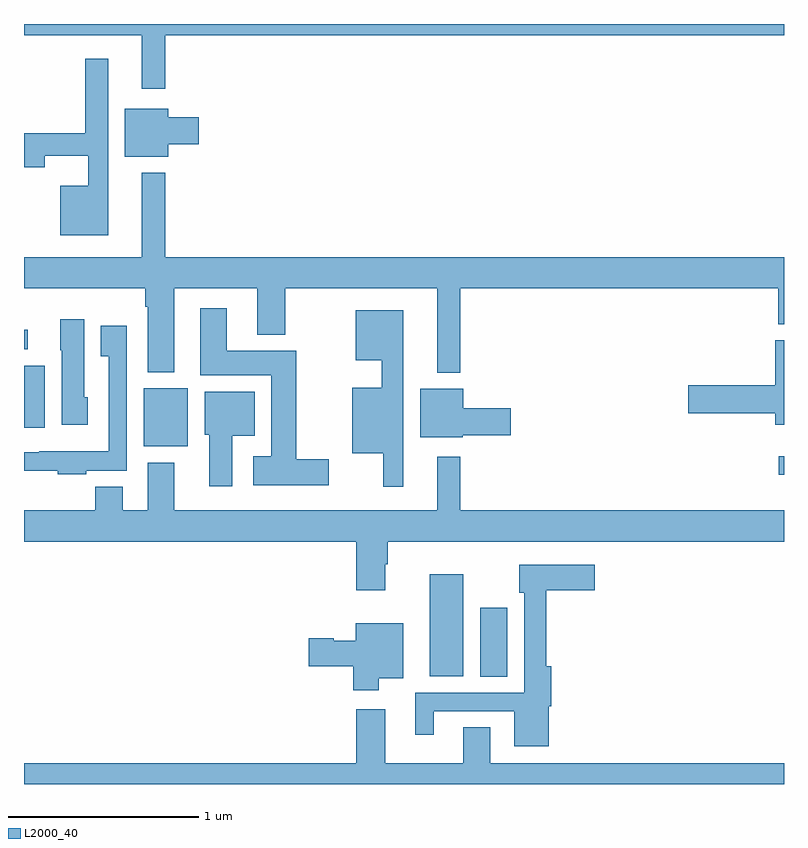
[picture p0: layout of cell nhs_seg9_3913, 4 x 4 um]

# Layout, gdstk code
import gdstk
lib = gdstk.Library(unit=1e-6, precision=1e-09)
def R(c, l, rs):  # rectangles x0, y0, x1, y1
    for r in rs: c.add(gdstk.rectangle(r[:2], r[2:], *l))
def P(c, l, *ps):  # polygons
    for p in ps: c.add(gdstk.Polygon(p, *l))
L2000_40 = (2000, 40)

nhs_seg9_3913 = lib.new_cell('nhs_seg9_3913')
R(nhs_seg9_3913, L2000_40, [(337.4,1173.064,337.543,1173.427), (337.136,1173.068,337.312,1173.604), (338.973,1174.128,339,1174.224), (335.63,1174.277,335.863,1174.582), (335,1174.374,335.11,1174.701), (335,1174.788,335.02,1174.891)])
P(nhs_seg9_3913, L2000_40, [(335.743,1176.44),(339,1176.44),(339,1176.5),(335,1176.5),(335,1176.44),(335.621,1176.44),(335.621,1176.159),(335.743,1176.159)],
  [(335.443,1176.316),(335.322,1176.316),(335.322,1175.924),(335,1175.924),(335,1175.746),(335.11,1175.746),(335.11,1175.807),(335.339,1175.807),(335.339,1175.65),(335.192,1175.65),(335.192,1175.387),(335.443,1175.387)],
  [(335.758,1175.867),(335.92,1175.867),(335.92,1176.009),(335.758,1176.009),(335.758,1176.055),(335.531,1176.055),(335.531,1175.801),(335.758,1175.801)],
  [(337.297,1175.108),(338.969,1175.108),(338.969,1174.921),(339,1174.921),(339,1175.272),(335.743,1175.272),(335.743,1175.716),(335.621,1175.716),(335.621,1175.272),(335,1175.272),(335,1175.108),(335.639,1175.108),(335.639,1175.012),(335.651,1175.012),(335.651,1174.667),(335.791,1174.667),(335.791,1175.108),(336.227,1175.108),(336.227,1174.865),(336.375,1174.865),(336.375,1175.108),(337.175,1175.108),(337.175,1174.664),(337.297,1174.664)],
  [(336.604,1174.208),(336.432,1174.208),(336.432,1174.78),(336.067,1174.78),(336.067,1175.005),(335.927,1175.005),(335.927,1174.652),(336.302,1174.652),(336.302,1174.225),(336.207,1174.225),(336.207,1174.073),(336.604,1174.073)],
  [(336.997,1174.993),(336.746,1174.993),(336.746,1174.73),(336.883,1174.73),(336.883,1174.585),(336.728,1174.585),(336.728,1174.241),(336.891,1174.241),(336.891,1174.065),(336.997,1174.065)],
  [(335.335,1174.536),(335.317,1174.536),(335.317,1174.945),(335.192,1174.945),(335.192,1174.782),(335.198,1174.782),(335.198,1174.392),(335.335,1174.392)],
  [(335.328,1174.149),(335.541,1174.149),(335.541,1174.912),(335.405,1174.912),(335.405,1174.751),(335.445,1174.751),(335.445,1174.252),(335.079,1174.252),(335.079,1174.245),(335,1174.245),(335,1174.149),(335.178,1174.149),(335.178,1174.131),(335.328,1174.131)],
  [(339,1174.836),(338.954,1174.836),(338.954,1174.598),(338.496,1174.598),(338.496,1174.451),(338.954,1174.451),(338.954,1174.392),(339,1174.392)],
  [(337.308,1174.336),(337.561,1174.336),(337.561,1174.478),(337.312,1174.478),(337.312,1174.579),(337.085,1174.579),(337.085,1174.325),(337.308,1174.325)],
  [(336.097,1174.334),(336.214,1174.334),(336.214,1174.564),(335.951,1174.564),(335.951,1174.338),(335.975,1174.338),(335.975,1174.068),(336.097,1174.068)],
  [(336.901,1173.656),(336.914,1173.656),(336.914,1173.776),(339,1173.776),(339,1173.94),(337.297,1173.94),(337.297,1174.222),(337.175,1174.222),(337.175,1173.94),(335.791,1173.94),(335.791,1174.192),(335.651,1174.192),(335.651,1173.94),(335.521,1173.94),(335.521,1174.064),(335.374,1174.064),(335.374,1173.94),(335,1173.94),(335,1173.776),(336.749,1173.776),(336.749,1173.519),(336.901,1173.519)],
  [(337.762,1172.91),(337.775,1172.91),(337.775,1173.121),(337.748,1173.121),(337.748,1173.521),(338.005,1173.521),(338.005,1173.655),(337.606,1173.655),(337.606,1173.507),(337.632,1173.507),(337.632,1172.979),(337.058,1172.979),(337.058,1172.76),(337.156,1172.76),(337.156,1172.883),(337.58,1172.883),(337.58,1172.699),(337.762,1172.699)],
  [(336.868,1173.056),(336.997,1173.056),(336.997,1173.346),(336.746,1173.346),(336.746,1173.253),(336.63,1173.253),(336.63,1173.266),(336.498,1173.266),(336.498,1173.119),(336.734,1173.119),(336.734,1172.994),(336.868,1172.994)],
  [(339,1172.608),(337.453,1172.608),(337.453,1172.798),(337.313,1172.798),(337.313,1172.608),(336.901,1172.608),(336.901,1172.893),(336.749,1172.893),(336.749,1172.608),(335,1172.608),(335,1172.5),(339,1172.5)])

lib.write_gds('nhs_seg9_3913.gds')
